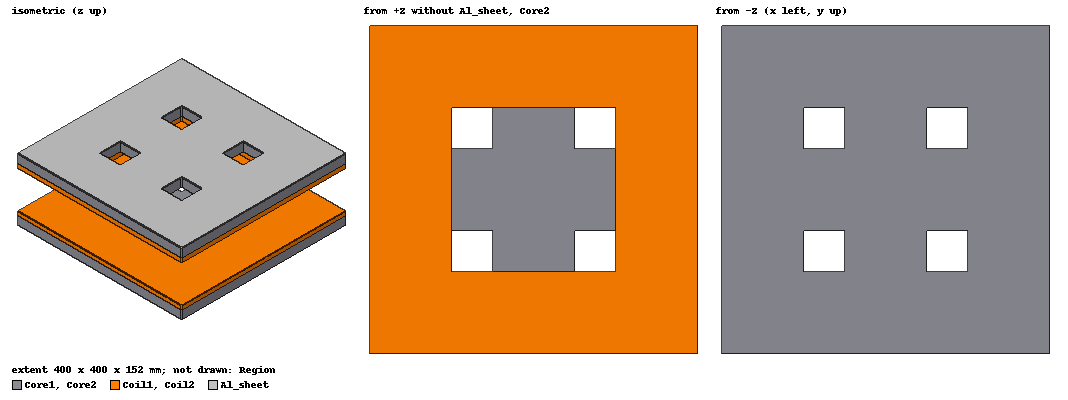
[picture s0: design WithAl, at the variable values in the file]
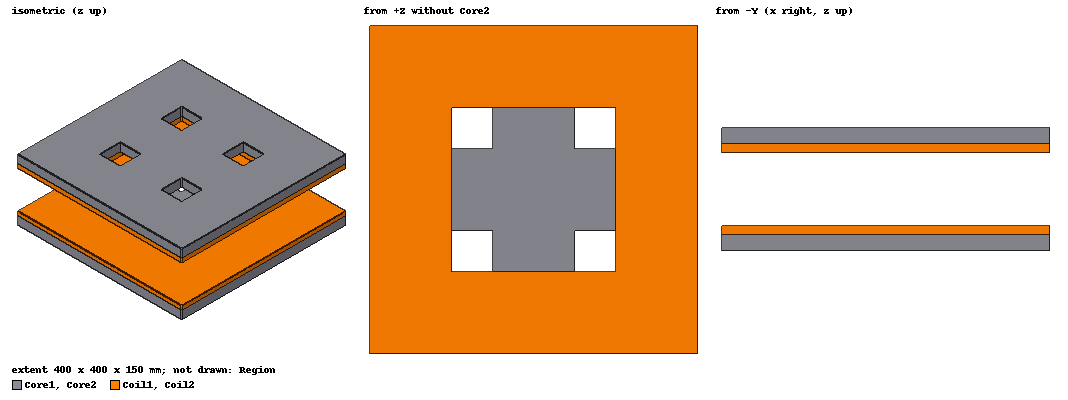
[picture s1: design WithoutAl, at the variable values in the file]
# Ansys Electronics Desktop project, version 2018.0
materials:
  copper: permeability=0.999991 conductivity=58000000
  ferrite: permittivity=12 permeability=1000 conductivity=0.01
  vacuum: permittivity=1
  aluminum: permeability=1.000021 conductivity=38000000

design WithAl (Maxwell 3D, EddyCurrent, model units mm)
options: Multiplier=1
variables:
  Wf = 40cm
  Hf = 2cm
  Hc = 1cm
  wc = 10cm
  TransferDistance = 15cm
  H_mis_align = 0cm
  V_mis_align = 0cm
  wh = (wf-3*wc)/2
  Al_sheet_width = 2mm
  N1 = 15
  N2 = 9
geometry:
  Coil1 [copper] = box(corner=(-Wf/2, -Wf/2, Hf), size=(Wf, Wf, Hc))
  Box3 = box(corner=(-wf/2+wc, -wf/2+wc, hf), size=(wf-2*wc, wf-2*wc, hc))
  Coil1.subtract(Box3)
  Terminal1 [copper] = Coil1.section(plane=YZ)
  Terminal1.separate_bodies()
  Coil2 [copper] = Coil1.duplicate_mirror(point=(0mm, 0mm, 0mm), normal=(0mm, 0mm, 1mm))
  Terminal2 [copper] = Terminal1.duplicate_mirror(point=(0mm, 0mm, 0mm), normal=(0mm, 0mm, 1mm))
  [Coil2, Terminal2].move(0mm, 0mm, TransferDistance)
  Region [vacuum] = region(percentage_offset=150 on all sides)
  [Coil2, Terminal2].move(0mm, H_mis_align, V_mis_align)
  Core1 [ferrite] = box(corner=(-Wf/2, -Wf/2, 0mm), size=(Wf, Wf, Hf))
  Box4 = box(corner=(-wf/2+wc, -wf/2+wc, 0mm), size=(wh, wh, hf))
  Box4_1 = Box4.duplicate_mirror(point=(0mm, 0mm, 0mm), normal=(1mm, 0mm, 0mm))
  Box4_2 = Box4.duplicate_mirror(point=(0mm, 0mm, 0mm), normal=(0mm, 1mm, 0mm))
  Box4_1_1 = Box4_1.duplicate_mirror(point=(0mm, 0mm, 0mm), normal=(0mm, 1mm, 0mm))
  Core1.subtract(Box4, Box4_1, Box4_1_1, Box4_2)
  Core2 [ferrite] = Core1.duplicate_mirror(point=(0mm, 0mm, 0mm), normal=(0mm, 0mm, 1mm))
  Core2.move(0mm, 0mm, TransferDistance)
  Core2.move(0mm, H_mis_align, V_mis_align)
  Al_sheet [aluminum] = object_from(Core2.face(18 of 22))
  Al_sheet.sweep_along_vector((0mm, 0mm, Al_sheet_width))
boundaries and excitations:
  Coil1: Current Objects=Terminal1 Phase=0deg Current=1A IsSolid=false Point_out_of_terminal=false
  Coil2: Current Objects=Terminal2 Phase=0deg Current=1A IsSolid=false Point_out_of_terminal=false
  eddy effects on: Al_sheet
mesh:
  Length1: LengthBased RefineInside Objects=[Coil1, Coil2, Terminal1, Terminal2] MaxLength=2cm
  initial mesh: GlobalSurfApproximation{CurvedSurfaceApproxChoice=ManualSettings AspectRatio=5} GlobalCurvilinear{Apply}
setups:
  Setup1: EddyCurrent MaximumPasses=5 MinimumPasses=2 MinimumConvergedPasses=1 PercentRefinement=30 PercentError=1 NonLinearResidual=0.0001 Frequency=60Hz
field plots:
  Mag_B1: B over a plane on Setup1 : LastAdaptive at Freq=60Hz Phase=0deg
  Mag_J1: J over Al_sheet on Setup1 : LastAdaptive at Freq=60Hz Phase=0deg

design WithoutAl (Maxwell 3D, EddyCurrent, model units mm)
options: Multiplier=1
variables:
  Wf = 40cm
  Hf = 2cm
  Hc = 1cm
  wc = 10cm
  TransferDistance = 15cm
  H_mis_align = 0cm
  V_mis_align = 0cm
  wh = (wf-3*wc)/2
  N1 = 15
  N2 = 9
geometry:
  Coil1 [copper] = box(corner=(-Wf/2, -Wf/2, Hf), size=(Wf, Wf, Hc))
  Box3 = box(corner=(-wf/2+wc, -wf/2+wc, hf), size=(wf-2*wc, wf-2*wc, hc))
  Coil1.subtract(Box3)
  Terminal1 [copper] = Coil1.section(plane=YZ)
  Terminal1.separate_bodies()
  Coil2 [copper] = Coil1.duplicate_mirror(point=(0mm, 0mm, 0mm), normal=(0mm, 0mm, 1mm))
  Terminal2 [copper] = Terminal1.duplicate_mirror(point=(0mm, 0mm, 0mm), normal=(0mm, 0mm, 1mm))
  [Coil2, Terminal2].move(0mm, 0mm, TransferDistance)
  Region [vacuum] = region(percentage_offset=150 on all sides)
  [Coil2, Terminal2].move(0mm, H_mis_align, V_mis_align)
  Core1 [ferrite] = box(corner=(-Wf/2, -Wf/2, 0mm), size=(Wf, Wf, Hf))
  Box4 = box(corner=(-wf/2+wc, -wf/2+wc, 0mm), size=(wh, wh, hf))
  Box4_1 = Box4.duplicate_mirror(point=(0mm, 0mm, 0mm), normal=(1mm, 0mm, 0mm))
  Box4_2 = Box4.duplicate_mirror(point=(0mm, 0mm, 0mm), normal=(0mm, 1mm, 0mm))
  Box4_1_1 = Box4_1.duplicate_mirror(point=(0mm, 0mm, 0mm), normal=(0mm, 1mm, 0mm))
  Core1.subtract(Box4, Box4_1, Box4_1_1, Box4_2)
  Core2 [ferrite] = Core1.duplicate_mirror(point=(0mm, 0mm, 0mm), normal=(0mm, 0mm, 1mm))
  Core2.move(0mm, 0mm, TransferDistance)
  Core2.move(0mm, H_mis_align, V_mis_align)
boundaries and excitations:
  Coil1: Current Objects=Terminal1 Phase=0deg Current="(10*15) A" IsSolid=false Point_out_of_terminal=false
  Coil2: Current Objects=Terminal2 Phase=0deg Current="(10*9) A" IsSolid=false Point_out_of_terminal=false
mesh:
  Length1: LengthBased RefineInside Objects=[Coil1, Coil2, Core1, Core2, Terminal1, Terminal2] MaxLength=1cm
  Length2: LengthBased RefineInside Objects=Region MaxLength=4cm
  initial mesh: GlobalCurvilinear{Apply}
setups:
  Setup1: EddyCurrent MaximumPasses=5 MinimumPasses=2 MinimumConvergedPasses=1 PercentRefinement=30 PercentError=1 RelativeResidual=0.1 NonLinearResidual=0.1 Frequency=50Hz
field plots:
  Mag_B1: B over a plane on Setup1 : LastAdaptive at Freq=50Hz Phase=0deg
